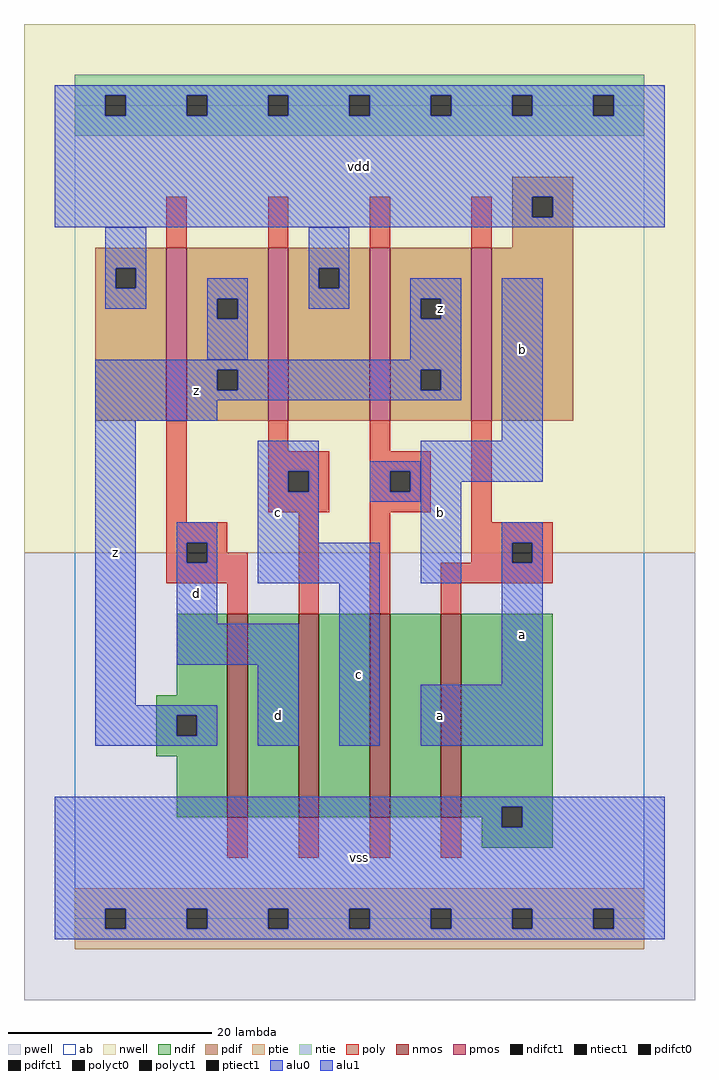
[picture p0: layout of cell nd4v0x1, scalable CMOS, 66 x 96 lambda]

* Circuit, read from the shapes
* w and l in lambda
.subckt nd4v0x1 a b c d vdd vss z
M1 n1 d z vss nfet w=20 l=2
M2 n2 c n1 vss nfet w=20 l=2
M3 n3 b n2 vss nfet w=20 l=2
M4 vss a n3 vss nfet w=20 l=2
M5 z d vdd vdd pfet w=17 l=2
M6 vdd c z vdd pfet w=17 l=2
M7 z b vdd vdd pfet w=17 l=2
M8 vdd a z vdd pfet w=17 l=2
.ends

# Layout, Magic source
magic
tech scmos
<< ab >>
rect 0 0 56 80
<< nwell >>
rect -5 36 61 88
<< pwell >>
rect -5 -8 61 36
<< poly >>
rect 9 66 11 71
rect 19 66 21 71
rect 29 66 31 71
rect 39 66 41 71
rect 9 39 11 49
rect 19 46 21 49
rect 29 46 31 49
rect 19 44 25 46
rect 19 42 21 44
rect 23 42 25 44
rect 19 40 25 42
rect 29 44 35 46
rect 29 42 31 44
rect 33 42 35 44
rect 29 40 35 42
rect 9 37 15 39
rect 9 35 11 37
rect 13 36 15 37
rect 13 35 17 36
rect 9 33 17 35
rect 15 30 17 33
rect 22 30 24 40
rect 29 30 31 40
rect 39 39 41 49
rect 39 37 47 39
rect 39 35 43 37
rect 45 35 47 37
rect 36 33 47 35
rect 36 30 38 33
rect 15 6 17 10
rect 22 6 24 10
rect 29 6 31 10
rect 36 6 38 10
<< ndif >>
rect 10 22 15 30
rect 8 20 15 22
rect 8 18 10 20
rect 12 18 15 20
rect 8 16 15 18
rect 10 10 15 16
rect 17 10 22 30
rect 24 10 29 30
rect 31 10 36 30
rect 38 11 47 30
rect 38 10 42 11
rect 40 9 42 10
rect 44 9 47 11
rect 40 7 47 9
<< pdif >>
rect 43 71 49 73
rect 43 69 45 71
rect 47 69 49 71
rect 43 66 49 69
rect 2 64 9 66
rect 2 62 4 64
rect 6 62 9 64
rect 2 49 9 62
rect 11 61 19 66
rect 11 59 14 61
rect 16 59 19 61
rect 11 54 19 59
rect 11 52 14 54
rect 16 52 19 54
rect 11 49 19 52
rect 21 64 29 66
rect 21 62 24 64
rect 26 62 29 64
rect 21 49 29 62
rect 31 61 39 66
rect 31 59 34 61
rect 36 59 39 61
rect 31 54 39 59
rect 31 52 34 54
rect 36 52 39 54
rect 31 49 39 52
rect 41 49 49 66
<< alu1 >>
rect -2 81 58 82
rect -2 79 3 81
rect 5 79 11 81
rect 13 79 19 81
rect 21 79 27 81
rect 29 79 35 81
rect 37 79 43 81
rect 45 79 51 81
rect 53 79 58 81
rect -2 71 58 79
rect -2 69 45 71
rect 47 69 58 71
rect -2 68 58 69
rect 33 61 38 63
rect 33 59 34 61
rect 36 59 38 61
rect 33 55 38 59
rect 2 54 38 55
rect 2 52 14 54
rect 16 52 34 54
rect 36 52 38 54
rect 2 51 38 52
rect 2 49 14 51
rect 2 21 6 49
rect 42 47 46 63
rect 18 44 24 47
rect 18 42 21 44
rect 23 42 24 44
rect 10 37 14 39
rect 10 35 11 37
rect 13 35 14 37
rect 10 29 14 35
rect 18 37 24 42
rect 34 43 46 47
rect 18 33 30 37
rect 34 33 38 43
rect 42 37 46 39
rect 42 35 43 37
rect 45 35 46 37
rect 10 25 22 29
rect 2 20 14 21
rect 2 18 10 20
rect 12 18 14 20
rect 2 17 14 18
rect 18 17 22 25
rect 26 17 30 33
rect 42 23 46 35
rect 34 17 46 23
rect -2 11 58 12
rect -2 9 42 11
rect 44 9 58 11
rect -2 1 58 9
rect -2 -1 3 1
rect 5 -1 11 1
rect 13 -1 19 1
rect 21 -1 27 1
rect 29 -1 35 1
rect 37 -1 43 1
rect 45 -1 51 1
rect 53 -1 58 1
rect -2 -2 58 -1
<< ptie >>
rect 0 1 56 3
rect 0 -1 3 1
rect 5 -1 11 1
rect 13 -1 19 1
rect 21 -1 27 1
rect 29 -1 35 1
rect 37 -1 43 1
rect 45 -1 51 1
rect 53 -1 56 1
rect 0 -3 56 -1
<< ntie >>
rect 0 81 56 83
rect 0 79 3 81
rect 5 79 11 81
rect 13 79 19 81
rect 21 79 27 81
rect 29 79 35 81
rect 37 79 43 81
rect 45 79 51 81
rect 53 79 56 81
rect 0 77 56 79
<< nmos >>
rect 15 10 17 30
rect 22 10 24 30
rect 29 10 31 30
rect 36 10 38 30
<< pmos >>
rect 9 49 11 66
rect 19 49 21 66
rect 29 49 31 66
rect 39 49 41 66
<< polyct0 >>
rect 31 42 33 44
<< polyct1 >>
rect 21 42 23 44
rect 11 35 13 37
rect 43 35 45 37
<< ndifct1 >>
rect 10 18 12 20
rect 42 9 44 11
<< ntiect1 >>
rect 3 79 5 81
rect 11 79 13 81
rect 19 79 21 81
rect 27 79 29 81
rect 35 79 37 81
rect 43 79 45 81
rect 51 79 53 81
<< ptiect1 >>
rect 3 -1 5 1
rect 11 -1 13 1
rect 19 -1 21 1
rect 27 -1 29 1
rect 35 -1 37 1
rect 43 -1 45 1
rect 51 -1 53 1
<< pdifct0 >>
rect 4 62 6 64
rect 14 59 16 61
rect 24 62 26 64
<< pdifct1 >>
rect 45 69 47 71
rect 14 52 16 54
rect 34 59 36 61
rect 34 52 36 54
<< alu0 >>
rect 3 64 7 68
rect 3 62 4 64
rect 6 62 7 64
rect 23 64 27 68
rect 3 60 7 62
rect 13 61 17 63
rect 13 59 14 61
rect 16 59 17 61
rect 23 62 24 64
rect 26 62 27 64
rect 23 60 27 62
rect 13 55 17 59
rect 29 44 34 45
rect 29 42 31 44
rect 33 42 34 44
rect 29 41 34 42
<< labels >>
rlabel alu1 4 36 4 36 6 z
rlabel alu1 20 20 20 20 6 d
rlabel alu1 12 32 12 32 6 d
rlabel alu1 20 40 20 40 6 c
rlabel alu1 12 52 12 52 6 z
rlabel alu1 28 6 28 6 6 vss
rlabel alu1 36 20 36 20 6 a
rlabel alu1 28 24 28 24 6 c
rlabel alu1 36 40 36 40 6 b
rlabel alu1 36 60 36 60 6 z
rlabel alu1 28 74 28 74 6 vdd
rlabel alu1 44 28 44 28 6 a
rlabel alu1 44 56 44 56 6 b
<< end >>
